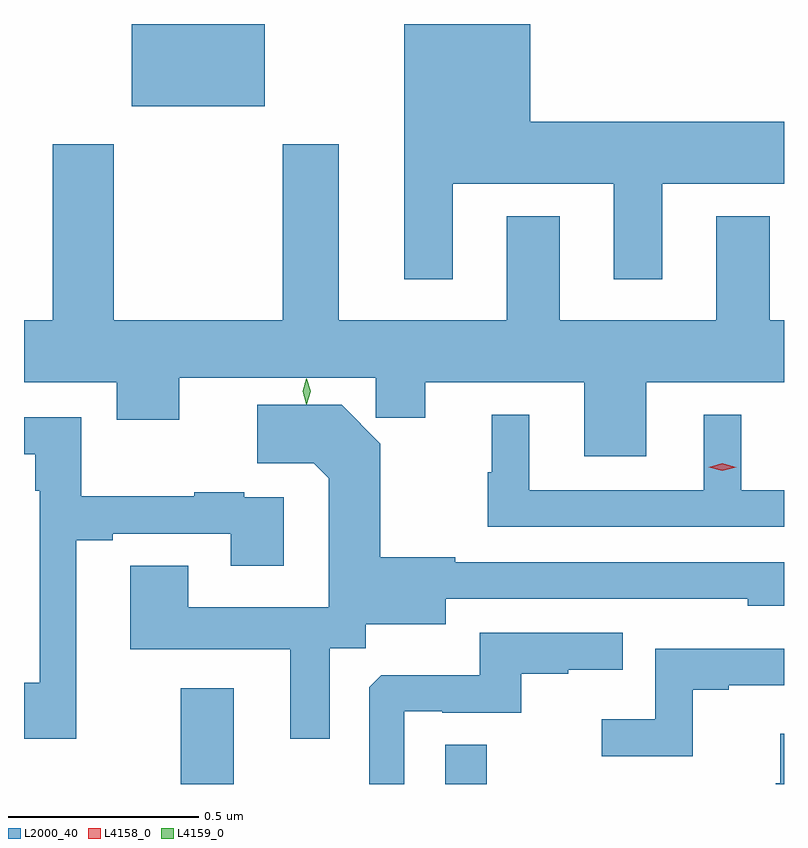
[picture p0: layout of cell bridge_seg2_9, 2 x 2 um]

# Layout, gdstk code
import gdstk
lib = gdstk.Library(unit=1e-6, precision=1e-09)
def R(c, l, rs):  # rectangles x0, y0, x1, y1
    for r in rs: c.add(gdstk.rectangle(r[:2], r[2:], *l))
def P(c, l, *ps):  # polygons
    for p in ps: c.add(gdstk.Polygon(p, *l))
L2000_40 = (2000, 40)
L4158_0 = (4158, 0)
L4159_0 = (4159, 0)

bridge_seg2_9 = lib.new_cell('bridge_seg2_9')
R(bridge_seg2_9, L2000_40, [(749.339,595.963,749.479,596.215), (750.036,595.963,750.145,596.066), (749.21,597.746,749.56,597.963)])
P(bridge_seg2_9, L2000_40, [(750.055,597.542),(750.479,597.542),(750.479,597.291),(750.607,597.291),(750.607,597.542),(750.927,597.542),(750.927,597.706),(750.259,597.706),(750.259,597.963),(749.927,597.963),(749.927,597.291),(750.055,597.291)],
  [(750.565,597.02),(750.927,597.02),(750.927,597.184),(750.889,597.184),(750.889,597.457),(750.749,597.457),(750.749,597.184),(750.337,597.184),(750.337,597.457),(750.197,597.457),(750.197,597.184),(749.755,597.184),(749.755,597.646),(749.608,597.646),(749.608,597.184),(749.163,597.184),(749.163,597.646),(749.003,597.646),(749.003,597.184),(748.927,597.184),(748.927,597.02),(749.171,597.02),(749.171,596.921),(749.335,596.921),(749.335,597.032),(749.853,597.032),(749.853,596.927),(749.983,596.927),(749.983,597.02),(750.401,597.02),(750.401,596.826),(750.565,596.826)],
  [(749.731,596.32),(749.826,596.32),(749.826,596.384),(750.037,596.384),(750.037,596.451),(750.595,596.451),(750.595,596.45),(750.831,596.45),(750.831,596.432),(750.927,596.432),(750.927,596.547),(750.062,596.547),(750.062,596.56),(749.865,596.56),(749.865,596.859),(749.763,596.961),(749.541,596.961),(749.541,596.807),(749.689,596.807),(749.729,596.767),(749.729,596.428),(749.359,596.428),(749.359,596.537),(749.207,596.537),(749.207,596.318),(749.627,596.318),(749.627,596.082),(749.731,596.082)],
  [(750.927,596.736),(750.814,596.736),(750.814,596.935),(750.716,596.935),(750.716,596.736),(750.256,596.736),(750.256,596.935),(750.158,596.935),(750.158,596.784),(750.147,596.784),(750.147,596.64),(750.927,596.64)],
  [(749.065,596.604),(749.161,596.604),(749.161,596.622),(749.471,596.622),(749.471,596.538),(749.611,596.538),(749.611,596.718),(749.507,596.718),(749.507,596.731),(749.375,596.731),(749.375,596.72),(749.077,596.72),(749.077,596.928),(748.927,596.928),(748.927,596.831),(748.956,596.831),(748.956,596.735),(748.968,596.735),(748.968,596.23),(748.927,596.23),(748.927,596.082),(749.065,596.082)],
  [(749.928,596.154),(750.028,596.154),(750.028,596.151),(750.236,596.151),(750.236,596.253),(750.359,596.253),(750.359,596.264),(750.503,596.264),(750.503,596.361),(750.126,596.361),(750.126,596.249),(749.867,596.249),(749.835,596.217),(749.835,595.963),(749.928,595.963)],
  [(750.687,596.211),(750.781,596.211),(750.781,596.223),(750.927,596.223),(750.927,596.319),(750.588,596.319),(750.588,596.134),(750.447,596.134),(750.447,596.036),(750.687,596.036)],
  [(750.927,596.095),(750.917,596.095),(750.917,595.965),(750.905,595.965),(750.905,595.963),(750.927,595.963)])
P(bridge_seg2_9, L4158_0, [(750.765,596.787),(750.729,596.797),(750.729,596.797),(750.729,596.797),(750.765,596.807),(750.801,596.797),(750.801,596.797),(750.801,596.797)])
P(bridge_seg2_9, L4159_0, [(749.67,596.963),(749.661,596.996),(749.67,597.03),(749.671,597.03),(749.671,597.03),(749.681,596.996),(749.671,596.963),(749.671,596.963)])

lib.write_gds('bridge_seg2_9.gds')
